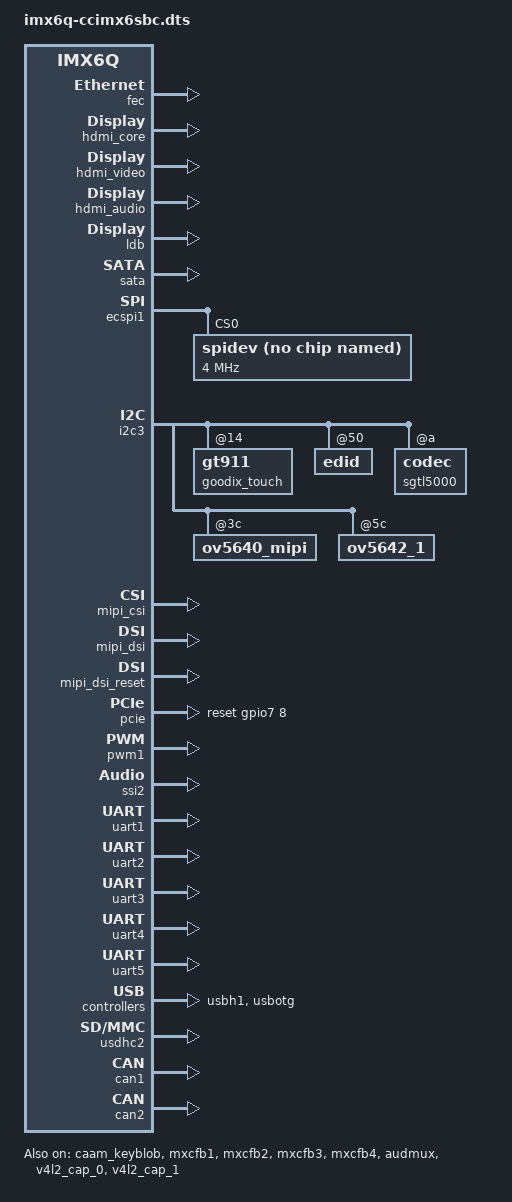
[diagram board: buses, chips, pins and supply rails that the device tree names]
/*
 * Copyright 2015-2018 Digi International, Inc.
 *
 * The code contained herein is licensed under the GNU General Public
 * License. You may obtain a copy of the GNU General Public License
 * Version 2 or later at the following locations:
 *
 * http://www.opensource.org/licenses/gpl-license.html
 * http://www.gnu.org/copyleft/gpl.html
 */

/dts-v1/;
#include <dt-bindings/gpio/gpio.h>
/* i.MX6 Quad/Dual CPU */
#include "imx6q.dtsi"
/* ConnectCore 6 (common) */
#include "imx6qdl-ccimx6.dtsi"
/* ConnectCore 6 Quad/Dual SBC carrier board */
#include "imx6q-ccimx6sbc.dtsi"

&fec {
	status = "okay";
};

&hdmi_core {
	status = "okay";
};

&hdmi_video {
	status = "okay";
};

&hdmi_audio {
	status = "okay";
};

&sound_hdmi {
	status = "okay";
};

&sound_sgtl5000 {
	status = "okay";
};

&codec_power {
	status = "okay";
};

&caam_keyblob {
	status = "okay";
};

/*
 * Parallel LCD conflicts with other interfaces:
 * IPU0:DI0 with MIPI display: comment the 'mipi_dsi' and 'mipi_dsi_reset' nodes.
 * Pad DISP0_DAT8 with PWM1: comment the 'pwm1' node.
 */
//&lcd {
//	status = "okay";
//};

&ldb {
	status = "okay";

	lvds-channel@0 {
		status = "okay";
	};
};

&mxcfb1 {
	status = "okay";
};

&mxcfb2 {
	status = "okay";
};

&mxcfb3 {
	status = "okay";
};

&mxcfb4 {
	status = "okay";
};

&sata {
	status = "okay";
};

&audmux {
	status = "okay";
};

&ecspi1 {
	status = "okay";

	/*
	 * Add your slave devices here. Next is an example of spidev.
	 * Expect a harmless kernel warning if you enable spidev as slave.
	 */
	spidev@0 {
		reg = <0>;
		compatible = "spidev";
		spi-max-frequency = <4000000>;
	};
};

&i2c3 {
	status = "okay";

	/* Uncomment to enable the fusion touch, used with hsd101pfw2 */
	//fusion@14 {
	//	status = "okay";
	//};

	goodix_touch: gt911@14 {
		status = "okay";
	};

	edid@50 {
		status = "okay";
	};

	sgtl5000: codec@a {
		status = "okay";
	};

	/* MIPI-CSI2 camera */
	ov5640_mipi: ov5640_mipi@3c {
		status = "okay";
	};

	/* Parallel camera CSI0 */
	ov5642_1: ov5642_1@5c {
		status = "okay";
	};
};

&mipi_csi {
	status = "okay";
};

/*
 * The MIPI display conflicts with IPU0:DI0 on the parallel LCD.
 */
&mipi_dsi {
	status = "okay";
};

&mipi_dsi_reset {
	status = "okay";
};

&pcie {
	pinctrl-names = "default";
	reset-gpio = <&gpio7 8 GPIO_ACTIVE_HIGH>;
	wake-up-gpio = <&gpio7 7 GPIO_ACTIVE_HIGH>;
	disable-gpio = <&gpio1 4 GPIO_ACTIVE_HIGH>;
	vin-supply = <&ldo6>;
	status = "okay";
};

/*
 * PWM1 uses pad DISP0_DAT8 on pin 10 of the parallel LCD connector.
 * Disable PWM1 if you want to use the parallel LCD.
 */
&pwm1 {
	status = "okay";
};

&ssi2 {
	status = "okay";
};

&uart1 {
	status = "okay";
};

&uart2 {
	status = "okay";
};

&uart3 {
	status = "okay";
};

&uart4 {
	status = "okay";
};

&uart5 {
	status = "okay";
};

&usbh1 {
	status = "okay";
};

&usbotg {
	status = "okay";
};

&usdhc2 {
	status = "okay";
};

&can1 {
	status = "okay";
};

&can2 {
	status = "okay";
};

&v4l2_cap_0 {
	status = "okay";
};

&v4l2_cap_1 {
	status = "okay";
};

&v4l2_out {
	status = "okay";
};
